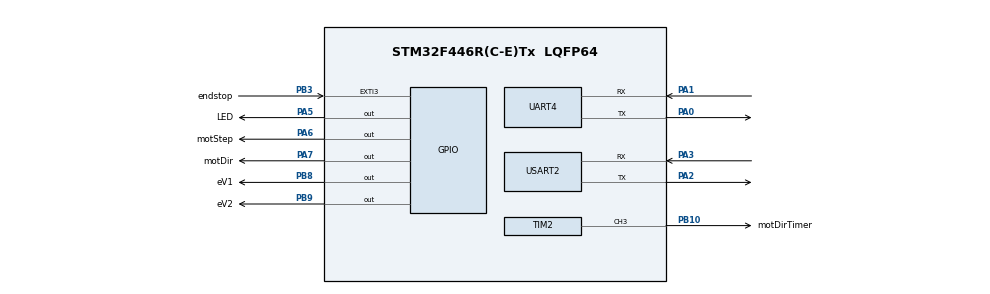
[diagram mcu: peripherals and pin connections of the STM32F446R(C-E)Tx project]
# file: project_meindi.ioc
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Mcu.Family=STM32F4
Mcu.Name=STM32F446R(C-E)Tx
Mcu.Package=LQFP64
NVIC.EXTI3_IRQn=true\:0\:0\:false\:false\:true\:true\:true
NVIC.PriorityGroup=NVIC_PRIORITYGROUP_4
NVIC.TIM2_IRQn=true\:0\:0\:false\:false\:true\:true\:true
NVIC.TIM6_DAC_IRQn=true\:0\:0\:false\:false\:true\:true\:true
NVIC.USART2_IRQn=true\:0\:0\:false\:false\:true\:true\:true
PA0-WKUP.Mode=Asynchronous
PA0-WKUP.Signal=UART4_TX
PA1.Mode=Asynchronous
PA1.Signal=UART4_RX
PA2.Mode=Asynchronous
PA2.Signal=USART2_TX
PA3.Mode=Asynchronous
PA3.Signal=USART2_RX
PA5.GPIO_Label=LED
PA5.Signal=GPIO_Output
PA6.GPIO_Label=motStep
PA6.Signal=GPIO_Output
PA7.GPIO_Label=motDir
PA7.Signal=GPIO_Output
PB10.GPIO_Label=motDirTimer
PB10.Signal=S_TIM2_CH3
PB3.GPIO_Label=endstop
PB3.Signal=GPXTI3
PB8.GPIO_Label=eV1
PB8.Signal=GPIO_Output
PB9.GPIO_Label=eV2
PB9.Signal=GPIO_Output
ProjectManager.HeapSize=0x200
ProjectManager.StackSize=0x400
ProjectManager.TargetToolchain=STM32CubeIDE
RCC.CortexFreq_Value=16000000
RCC.USBFreq_Value=96000000
RCC.VCOOutputFreq_Value=192000000
SH.S_TIM2_CH3.0=TIM2_CH3,Output Compare3 CH3
TIM2.Channel-Output\ Compare3\ CH3=TIM_CHANNEL_3
TIM2.OCMode_3=TIM_OCMODE_TOGGLE
TIM2.Period=15
TIM2.Prescaler=0
TIM6.Period=99
TIM6.Prescaler=15999
UART4.VirtualMode=Asynchronous
USART2.VirtualMode=VM_ASYNC
VP_TIM6_VS_ClockSourceINT.Mode=Enable_Timer
board=custom

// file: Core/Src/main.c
/* USER CODE BEGIN Header */
/**
 ******************************************************************************
 * @file           : main.c
 * @brief          : Main program body
 ******************************************************************************
 * @attention
 *
 * <h2><center>&copy; Copyright (c) 2021 STMicroelectronics.
 * All rights reserved.</center></h2>
 *
 * This software component is licensed by ST under BSD 3-Clause license,
 * the "License"; You may not use this file except in compliance with the
 * License. You may obtain a copy of the License at:
 *                        opensource.org/licenses/BSD-3-Clause
 *
 ******************************************************************************
 */
/* USER CODE END Header */
#include "main.h"
#include "tim.h"
#include "usart.h"
#include "gpio.h"

/* USER CODE BEGIN Includes */

#include <stdbool.h>
#include <string.h>
#include <stdbool.h>
/* USER CODE END Includes */

/* USER CODE BEGIN PV */
enum Speed {Slow = 1999, Medium = 299, Fast = 139};
enum Dir{Right, Left};
bool isHoming = false;
bool isEndstopTriggered = false;
void startTimer(){
	HAL_TIM_OC_Start(&htim2, TIM_CHANNEL_3);
}

void stopTimer(){
	HAL_TIM_OC_Stop(&htim2, TIM_CHANNEL_3);
}

char receivedMessage;
char messageToSend;

void sendMessage(char *messageToSend){
	char * messageEnding = "\r\n";
	int messageLen = strlen(messageToSend) + strlen(messageEnding);
	char * message = malloc(messageLen);
	strcpy(message, messageToSend);
	strcat(message, messageEnding);
	HAL_UART_Transmit(&huart2, (uint8_t*)message, messageLen, HAL_MAX_DELAY);
	HAL_UART_Transmit(&huart4, (uint8_t*)message, messageLen, HAL_MAX_DELAY);
	free(message);
}
void turnmot(int speed, int time, int dir){
	/*for (int i = 1; i < 2000; ++i)
	  {
		HAL_GPIO_TogglePin(motStep_GPIO_Port, motStep_Pin);
		HAL_Delay(2);
	  }*/
	if(dir == 1){
		HAL_GPIO_WritePin(motDir_GPIO_Port, motDir_Pin, 1);
	}
	else{
		HAL_GPIO_WritePin(motDir_GPIO_Port, motDir_Pin, 0);
	}
	startTimer();
	TIM2->PSC = speed;
	HAL_Delay(time);
	stopTimer();
}

void goHome(){
	HAL_GPIO_WritePin(motDir_GPIO_Port, motDir_Pin, Left);
	startTimer();
	//HAL_GPIO_WritePin(eV1_GPIO_Port, eV1_Pin, 1);
	TIM2->PSC = Medium;
	while(isEndstopTriggered != true){
	}
	sendMessage("triggered !");
	HAL_GPIO_WritePin(motDir_GPIO_Port, motDir_Pin, Right);
	startTimer();
	TIM2->PSC = Slow;
	HAL_Delay(500);
	stopTimer();
	isEndstopTriggered = false;
	sendMessage("done !");
	//HAL_GPIO_WritePin(eV1_GPIO_Port, eV1_Pin, 0);
}

void smoothTurn(int pres){
	startTimer();
	int max = 200000;
	double percent;
	/*for (int i = 1; i < max; ++i)
	{
		percent = (double)i / (double)max;
		if (percent*(double)100 > 20){
			TIM2->PSC = (int)(percent * (double)pres);
		}

	}*/
	for (int i = 1; i < max; ++i)
		{
			percent = (double)i / (double)max;
			if (percent*(double)100 > 20){
				TIM2->PSC = (int)(percent * (double)pres);
			}

		}
	//HAL_Delay(2000);
	stopTimer();
}
void decodeMessage(char key){
	switch(key){
	case 't':
		HAL_GPIO_WritePin(eV1_GPIO_Port, eV1_Pin, 1);
		sendMessage("Electrovalve 1 ON!");
		break;
	case 'z':
		HAL_GPIO_WritePin(eV1_GPIO_Port, eV1_Pin, 0);
		sendMessage("Electrovalve 1 OFF!");
		break;
	case 'g':
		HAL_GPIO_WritePin(eV2_GPIO_Port, eV2_Pin, 1);
		sendMessage("Electrovalve 2 ON!");
		break;
	case 'h':
		HAL_GPIO_WritePin(eV2_GPIO_Port, eV2_Pin, 0);
		sendMessage("Electrovalve 2 OFF!");
		break;
	case 'b':
		//HAL_GPIO_WritePin(motStep_GPIO_Port, motStep_Pin, 1);
		//sendMessage("Motor step ON!");
		//turnmot(1999); // 1999 = 40 Hz, 199 = 394khz
		//turnmot(1999); // slow
		//turnmot(499); // 1kHz
		//turnmot(899); // 553 Hz
		//turnmot(299); // 1.66 kHz // moderate speed
		//turnmot(199); // 2.49 khZ
		turnmot(Fast, 2300, Right);
		//smoothTurn(199);
		break;
	case 'n':
		//HAL_GPIO_WritePin(motStep_GPIO_Port, motStep_Pin, 0);
		//sendMessage("Motor step OFF!");
		turnmot(Fast, 2300, Left);
		break;
	case 'c':
		HAL_GPIO_WritePin(motDir_GPIO_Port, motDir_Pin, 1);
		sendMessage("Motor dir ON!");
		break;
	case 'v':
		HAL_GPIO_WritePin(motDir_GPIO_Port, motDir_Pin, 0);
		sendMessage("Motor dir OFF!");
		break;
	case 'l':
			sendMessage("Homing !");
			goHome();
			break;
	case 'm':
			turnmot(Fast, 4600, Left);
			break;

	}
}
/* USER CODE END PV */

void SystemClock_Config(void);

int main(void)
{

  /* MCU Configuration--------------------------------------------------------*/

  /* Reset of all peripherals, Initializes the Flash interface and the Systick. */
  HAL_Init();

  /* Configure the system clock */
  SystemClock_Config();

  /* Initialize all configured peripherals */
  MX_TIM6_Init();
  MX_GPIO_Init();
  MX_USART2_UART_Init();
  MX_TIM2_Init();
  MX_UART4_Init();
  /* USER CODE BEGIN 2 */
	HAL_TIM_Base_Start_IT(&htim6);

  /* USER CODE END 2 */

  /* Infinite loop */
	while (1)
	{

    /* USER CODE BEGIN 3 */
		HAL_UART_Receive(&huart4, &receivedMessage, 1, HAL_MAX_DELAY);
		//HAL_UART_Receive(&huart2, &receivedMessage, 1, HAL_MAX_DELAY);
		decodeMessage(receivedMessage);
		if(receivedMessage == 'd'){
			HAL_GPIO_TogglePin(LED_GPIO_Port , LED_Pin);
			sendMessage("Yo!");
		}
	}
  /* USER CODE END 3 */
}

void SystemClock_Config(void)
{
  RCC_OscInitTypeDef RCC_OscInitStruct = {0};
  RCC_ClkInitTypeDef RCC_ClkInitStruct = {0};

  /** Configure the main internal regulator output voltage
  */
  __HAL_RCC_PWR_CLK_ENABLE();
  __HAL_PWR_VOLTAGESCALING_CONFIG(PWR_REGULATOR_VOLTAGE_SCALE3);
  /** Initializes the RCC Oscillators according to the specified parameters
  * in the RCC_OscInitTypeDef structure.
  */
  RCC_OscInitStruct.OscillatorType = RCC_OSCILLATORTYPE_HSI;
  RCC_OscInitStruct.HSIState = RCC_HSI_ON;
  RCC_OscInitStruct.HSICalibrationValue = RCC_HSICALIBRATION_DEFAULT;
  RCC_OscInitStruct.PLL.PLLState = RCC_PLL_NONE;
  if (HAL_RCC_OscConfig(&RCC_OscInitStruct) != HAL_OK)
  {
    Error_Handler();
  }
  /** Initializes the CPU, AHB and APB buses clocks
  */
  RCC_ClkInitStruct.ClockType = RCC_CLOCKTYPE_HCLK|RCC_CLOCKTYPE_SYSCLK
                              |RCC_CLOCKTYPE_PCLK1|RCC_CLOCKTYPE_PCLK2;
  RCC_ClkInitStruct.SYSCLKSource = RCC_SYSCLKSOURCE_HSI;
  RCC_ClkInitStruct.AHBCLKDivider = RCC_SYSCLK_DIV1;
  RCC_ClkInitStruct.APB1CLKDivider = RCC_HCLK_DIV1;
  RCC_ClkInitStruct.APB2CLKDivider = RCC_HCLK_DIV1;

  if (HAL_RCC_ClockConfig(&RCC_ClkInitStruct, FLASH_LATENCY_0) != HAL_OK)
  {
    Error_Handler();
  }
}

/* USER CODE BEGIN 4 */
void HAL_TIM_PeriodElapsedCallback(TIM_HandleTypeDef *htim) {
	if(htim ->Instance == TIM6){
		//HAL_GPIO_TogglePin(LED_GPIO_Port , LED_Pin);
	}
}

// endstop callback
void HAL_GPIO_EXTI_Callback(uint16_t GPIO_Pin)
{
	if(GPIO_Pin == endstop_Pin){ // Check pin
		isEndstopTriggered = true;
		stopTimer();
	}
	else{
		__NOP();
	}
}
/* USER CODE END 4 */

void Error_Handler(void)
{
	__disable_irq();
	while (1)
	{
	}
}

/************************ (C) COPYRIGHT STMicroelectronics *****END OF FILE****/
